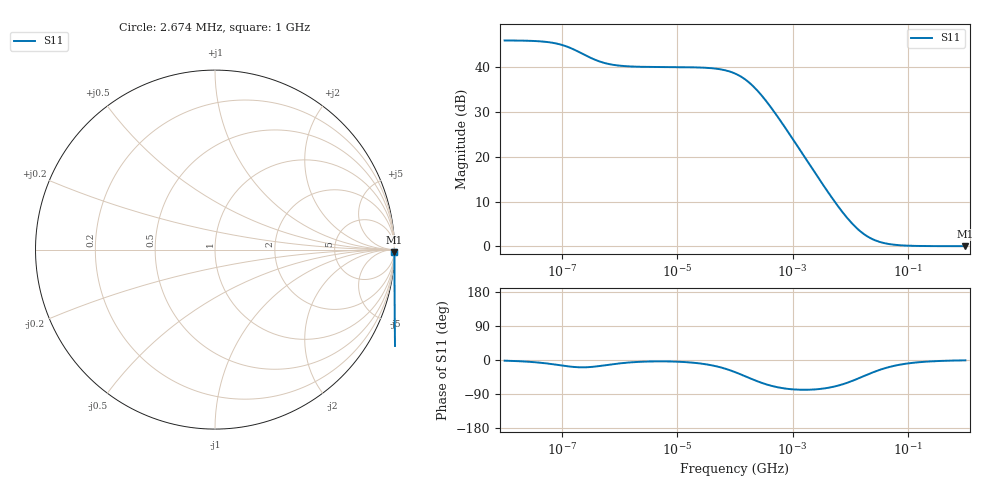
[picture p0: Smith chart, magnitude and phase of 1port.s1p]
# Hz S RI R 50
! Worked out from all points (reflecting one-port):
!   200 points, 10 Hz to 1 GHz, reference 50 ohm
!   lowest |S11| = 0.0 dB at 1 GHz (marker M1)
!   phase of S11 starts at -2 deg and turns +1 deg over the sweep
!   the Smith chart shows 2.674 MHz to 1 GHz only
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10  200.6 -6.265
23.0043  199 -14.17
43.97604  193.9 -25.7
69.8588  184.8 -36.85
101.1638  172.2 -45.34
133.5452  159.7 -49.32
176.2914  145.9 -49.85
255.2908  129 -45.05
337.0064  119.2 -38.83
535.3567  109.1 -27.65
1023.411  103.4 -15.83
1783.431  101.8 -9.974
3107.866  101.2 -7.06
10353.22  100.6 -8.015
21711.18  99.18 -14.13
41504.05  94.63 -24.8
65931.88  86.35 -35.6
104737.1  70.78 -46.07
138262.2  57.99 -49.62
182518.3  44.19 -49.62
264308.1  27.61 -44.25
348910.1  18.22 -37.8
554266.5  8.617 -26.56
1059560  3.206 -14.7
2673842  1.353 -5.937
1.071891e7  1.022 -1.486
1.084366e8  1 -0.1469
1e9  1 -0.0159
